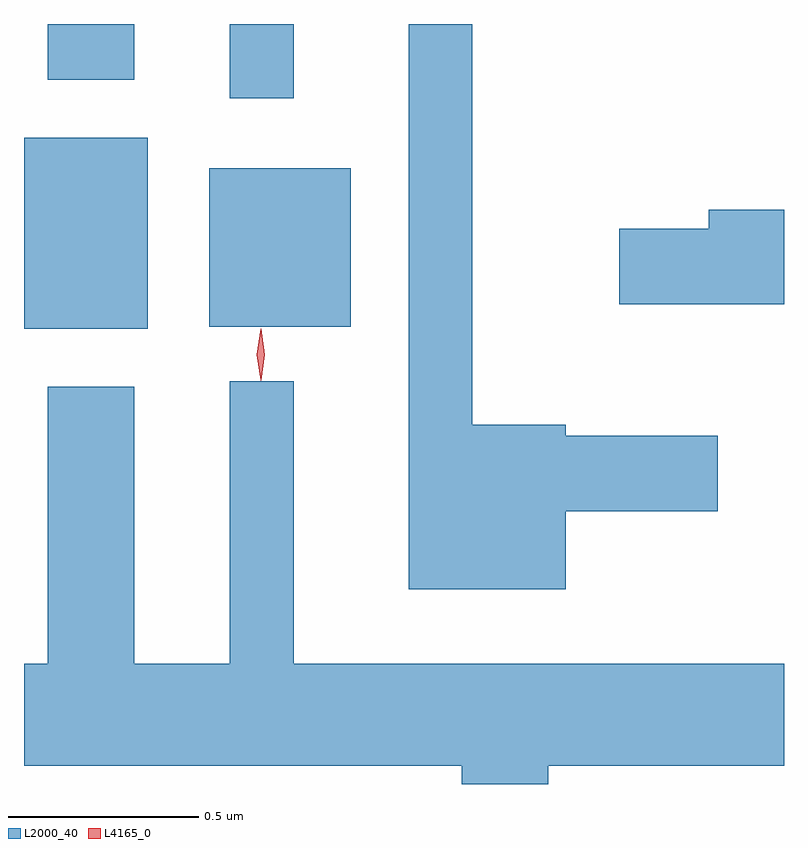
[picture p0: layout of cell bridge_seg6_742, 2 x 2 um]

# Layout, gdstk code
import gdstk
lib = gdstk.Library(unit=1e-6, precision=1e-09)
def R(c, l, rs):  # rectangles x0, y0, x1, y1
    for r in rs: c.add(gdstk.rectangle(r[:2], r[2:], *l))
def P(c, l, *ps):  # polygons
    for p in ps: c.add(gdstk.Polygon(p, *l))
L2000_40 = (2000, 40)
L4165_0 = (4165, 0)

bridge_seg6_742 = lib.new_cell('bridge_seg6_742')
R(bridge_seg6_742, L2000_40, [(243.299,1542.306,243.624,1542.809), (243.786,1542.311,244.159,1542.729), (243.841,1542.913,244.009,1543.108), (243.361,1542.961,243.589,1543.108)])
P(bridge_seg6_742, L2000_40, [(244.724,1541.826),(245.124,1541.826),(245.124,1542.024),(244.724,1542.024),(244.724,1542.054),(244.479,1542.054),(244.479,1543.108),(244.311,1543.108),(244.311,1541.621),(244.724,1541.621)],
  [(245.299,1542.619),(245.101,1542.619),(245.101,1542.569),(244.866,1542.569),(244.866,1542.371),(245.299,1542.371)],
  [(244.679,1541.156),(245.299,1541.156),(245.299,1541.424),(244.009,1541.424),(244.009,1542.168),(243.841,1542.168),(243.841,1541.424),(243.589,1541.424),(243.589,1542.154),(243.361,1542.154),(243.361,1541.424),(243.299,1541.424),(243.299,1541.156),(244.451,1541.156),(244.451,1541.108),(244.679,1541.108)])
P(bridge_seg6_742, L4165_0, [(243.922,1542.169),(243.922,1542.17),(243.912,1542.238),(243.922,1542.306),(243.922,1542.306),(243.923,1542.306),(243.932,1542.238),(243.923,1542.17)],
  [(243.922,1542.173),(243.922,1542.173),(243.912,1542.237),(243.922,1542.301),(243.922,1542.302),(243.923,1542.301),(243.932,1542.237),(243.923,1542.173)])

lib.write_gds('bridge_seg6_742.gds')
